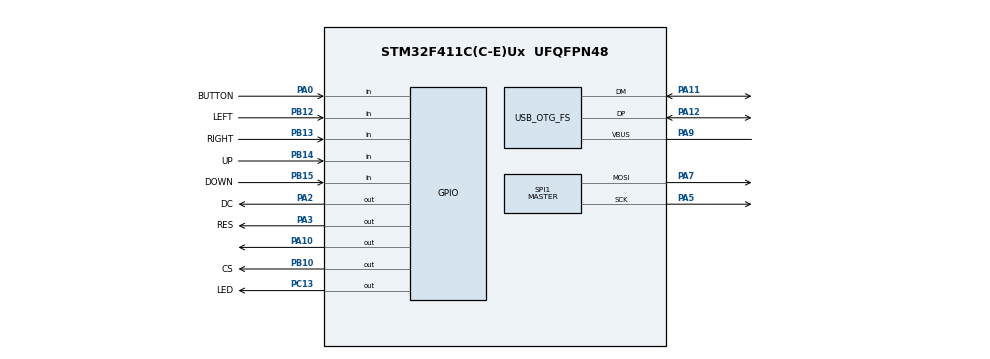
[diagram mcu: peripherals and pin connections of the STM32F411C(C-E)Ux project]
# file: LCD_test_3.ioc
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Dma.Request0=SPI1_TX
Dma.SPI1_TX.0.Direction=DMA_MEMORY_TO_PERIPH
Dma.SPI1_TX.0.FIFOMode=DMA_FIFOMODE_DISABLE
Dma.SPI1_TX.0.Instance=DMA2_Stream3
Dma.SPI1_TX.0.MemDataAlignment=DMA_MDATAALIGN_BYTE
Dma.SPI1_TX.0.MemInc=DMA_MINC_ENABLE
Dma.SPI1_TX.0.Mode=DMA_NORMAL
Dma.SPI1_TX.0.PeriphDataAlignment=DMA_PDATAALIGN_BYTE
Dma.SPI1_TX.0.PeriphInc=DMA_PINC_DISABLE
Dma.SPI1_TX.0.Priority=DMA_PRIORITY_MEDIUM
FATFS._USE_LFN=2
Mcu.Family=STM32F4
Mcu.Name=STM32F411C(C-E)Ux
Mcu.Package=UFQFPN48
NVIC.DMA2_Stream3_IRQn=true\:0\:0\:false\:false\:true\:false\:true\:true
NVIC.OTG_FS_IRQn=true\:0\:0\:false\:false\:true\:false\:true\:true
NVIC.PriorityGroup=NVIC_PRIORITYGROUP_4
NVIC.TIM1_UP_TIM10_IRQn=true\:0\:0\:false\:false\:true\:true\:true\:true
PA0-WKUP.GPIO_Label=BUTTON
PA0-WKUP.GPIO_PuPd=GPIO_PULLUP
PA0-WKUP.Signal=GPIO_Input
PA10.Signal=GPIO_Output
PA11.Mode=Host_Only
PA11.Signal=USB_OTG_FS_DM
PA12.Mode=Host_Only
PA12.Signal=USB_OTG_FS_DP
PA2.GPIO_Label=DC
PA2.GPIO_Speed=GPIO_SPEED_FREQ_VERY_HIGH
PA2.Signal=GPIO_Output
PA3.GPIO_Label=RES
PA3.GPIO_Speed=GPIO_SPEED_FREQ_VERY_HIGH
PA3.Signal=GPIO_Output
PA5.Mode=TX_Only_Simplex_Unidirect_Master
PA5.Signal=SPI1_SCK
PA7.Mode=TX_Only_Simplex_Unidirect_Master
PA7.Signal=SPI1_MOSI
PA9.Mode=Activate_VBUS
PA9.Signal=USB_OTG_FS_VBUS
PB10.GPIO_Label=CS
PB10.GPIO_Speed=GPIO_SPEED_FREQ_VERY_HIGH
PB10.Signal=GPIO_Output
PB12.GPIO_Label=LEFT
PB12.GPIO_PuPd=GPIO_PULLDOWN
PB12.Signal=GPIO_Input
PB13.GPIO_Label=RIGHT
PB13.GPIO_PuPd=GPIO_PULLDOWN
PB13.Signal=GPIO_Input
PB14.GPIO_Label=UP
PB14.GPIO_PuPd=GPIO_PULLDOWN
PB14.Signal=GPIO_Input
PB15.GPIO_Label=DOWN
PB15.GPIO_PuPd=GPIO_PULLDOWN
PB15.Signal=GPIO_Input
PC13-ANTI_TAMP.GPIO_Label=LED
PC13-ANTI_TAMP.Signal=GPIO_Output
PH0\ -\ OSC_IN.Mode=HSE-External-Oscillator
PH0\ -\ OSC_IN.Signal=RCC_OSC_IN
PH1\ -\ OSC_OUT.Mode=HSE-External-Oscillator
PH1\ -\ OSC_OUT.Signal=RCC_OSC_OUT
ProjectManager.HeapSize=0x1000
ProjectManager.StackSize=0x2000
ProjectManager.TargetToolchain=MDK-ARM V5.32
RCC.48MHZClocksFreq_Value=48097826.086956516
RCC.AHBFreq_Value=96195652.17391303
RCC.APB1CLKDivider=RCC_HCLK_DIV2
RCC.APB1Freq_Value=48097826.086956516
RCC.APB1TimFreq_Value=96195652.17391303
RCC.APB2Freq_Value=96195652.17391303
RCC.APB2TimFreq_Value=96195652.17391303
RCC.CortexFreq_Value=96195652.17391303
RCC.HCLKFreq_Value=96195652.17391303
RCC.HSE_VALUE=25000000
RCC.HSI_VALUE=16000000
RCC.LSE_VALUE=32768
RCC.PLLM=23
RCC.PLLN=354
RCC.PLLP=RCC_PLLP_DIV4
RCC.PLLQ=8
RCC.SYSCLKFreq_VALUE=96195652.17391303
RCC.SYSCLKSource=RCC_SYSCLKSOURCE_PLLCLK
RCC.VCOOutputFreq_Value=384782608.6956521
SPI1.CalculateBaudRate=48.097824 MBits/s
SPI1.Direction=SPI_DIRECTION_2LINES
SPI1.Mode=SPI_MODE_MASTER
SPI1.VirtualType=VM_MASTER
TIM1.Period=10000
TIM1.Prescaler=1000
TIM1.TIM_MasterOutputTrigger=TIM_TRGO_UPDATE
USB_HOST.BSP.number=1
USB_HOST.USBH_HandleTypeDef=hUsbHostFS
USB_HOST.VirtualModeFS=Msc
USB_HOST0.BSP.STBoard=false
USB_HOST0.BSP.api=Unknown
USB_HOST0.BSP.instance=PA10
USB_HOST0.BSP.ip=GPIO
USB_HOST0.BSP.mode=Output
USB_HOST0.BSP.name=Drive_VBUS_FS
USB_HOST0.BSP.solution=PA10
USB_OTG_FS.VirtualMode=Host_Only
USB_OTG_FS.phy_itface=HCD_PHY_EMBEDDED
VP_FATFS_VS_USB.Mode=USB
VP_TIM1_VS_ClockSourceINT.Mode=Internal
VP_USB_HOST_VS_USB_HOST_MSC_FS.Mode=MSC_FS
board=custom

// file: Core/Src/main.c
/* USER CODE BEGIN Header */
/**
  ******************************************************************************
  * @file           : main.c
  * @brief          : Main program body
  ******************************************************************************
  * @attention
  *
  * Copyright (c) 2024 STMicroelectronics.
  * All rights reserved.
  *
  * This software is licensed under terms that can be found in the LICENSE file
  * in the root directory of this software component.
  * If no LICENSE file comes with this software, it is provided AS-IS.
  *
  ******************************************************************************
  */
/* USER CODE END Header */
#include "main.h"
#include "fatfs.h"
#include "usb_host.h"

/* USER CODE BEGIN Includes */
//#include "GC9A01.h"
#include "font.h"
#include "File_Handling.h"
/* USER CODE END Includes */

/* USER CODE BEGIN PV */
	extern ApplicationTypeDef Appli_state;
	extern uint8_t shift;
	volatile uint8_t dma_spi_fl1=0;
	uint32_t dma_spi_cnt=1;
	uint8_t current_active_menu_member = 0;
	uint8_t current_page = 1;
	uint8_t amount_of_files = 0;
	uint8_t txt_file_page = 1;
	uint8_t enable_menu_member_animation = 1;
	uint8_t enable_button_handling = 1;
	char buffer[256];
	char path[512] = "/";
	char path_txt[512];
	uint16_t horizontal_offset = 0;
	uint16_t vertical_offset = 0;
	uint16_t interpolation_coef = 1;
	uint16_t screen_buf[240] = {0};
	FATFS fs;
	DIR dr;
	FIL fl;
	FRESULT res;

	struct MenuMember Members[8];

	usb_drive_state USB_Storage_state = disconected;
	usb_drive_state USB_Storage_last_state = disconected;
	Device_mode current_mode = view_file_menu;

/* USER CODE END PV */

void SystemClock_Config(void);
static void MX_GPIO_Init(void);
static void MX_DMA_Init(void);
static void MX_SPI1_Init(void);
static void MX_TIM1_Init(void);
void MX_USB_HOST_Process(void);

/* USER CODE BEGIN PFP */
	void delay_ms(uint32_t ms);
	int generate_random_number(int min, int max);
	void display_test_animation(void);
	void ClearBuffer(char *buffer, size_t length);
	void clear_and_set_root(char *array, size_t size);
	void refresh_BMP_image(void);
/* USER CODE END PFP */

int main(void)
{
  /* USER CODE BEGIN 1 */
	for(int i = AMOUNT_OF_MENU_MEMBERS; i >= 0; i--){
	strcpy(Members[i].text, "File ");
	Members[i].number = i + 1;
	Members[i].state = unactive;
	}
	Members[current_active_menu_member].state = active;
  /* USER CODE END 1 */

  /* MCU Configuration--------------------------------------------------------*/

  /* Reset of all peripherals, Initializes the Flash interface and the Systick. */
  HAL_Init();

  /* USER CODE BEGIN Init */
  LL_APB2_GRP1_EnableClock(LL_APB2_GRP1_PERIPH_SYSCFG);
  LL_APB1_GRP1_EnableClock(LL_APB1_GRP1_PERIPH_PWR);
	NVIC_SetPriorityGrouping(NVIC_PRIORITYGROUP_4);
	NVIC_SetPriority(SysTick_IRQn, NVIC_EncodePriority(NVIC_GetPriorityGrouping(),1, 0));
  /* USER CODE END Init */

  /* Configure the system clock */
  SystemClock_Config();

  /* Initialize all configured peripherals */
  MX_GPIO_Init();
  MX_DMA_Init();
  MX_SPI1_Init();
//  MX_FATFS_Init();
//  MX_USB_HOST_Init();
//  MX_TIM1_Init();
  /* USER CODE BEGIN 2 */
	LL_DMA_DisableStream(DMA2, LL_DMA_STREAM_3);
	LL_DMA_ClearFlag_TC3(DMA2);
  LL_DMA_ClearFlag_TE3(DMA2);
	LL_DMA_EnableIT_TC(DMA2, LL_DMA_STREAM_3);
  LL_DMA_EnableIT_TE(DMA2, LL_DMA_STREAM_3);
	LL_SPI_EnableDMAReq_TX(SPI1);
	LL_SPI_Enable(SPI1);

	GC9A01_Initial();
	GC9A01_ClearScreen(WHITE);
	GC9A01_SetBackColor(BLACK);
	GC9A01_SetFont(&Font16);
	GC9A01_SetTextColor(WHITE);

	MX_USB_HOST_Init();
	MX_FATFS_Init();

	while(Appli_state != APPLICATION_READY){
		MX_USB_HOST_Process();
	}
	Mount_USB();
	uint8_t files = Scan_USB_for_amount_of_files("/");
	Members[7].state = unactive;
	Scan_USB(path, Members,current_page);
	amount_of_files = Scan_USB_for_amount_of_files("/");
	Unmount_USB();

	MX_TIM1_Init();
	LL_TIM_EnableIT_UPDATE(TIM1);
	LL_TIM_EnableCounter(TIM1);
  /* USER CODE END 2 */

  /* Infinite loop */
  /* USER CODE BEGIN WHILE */
  while (1)
  {

		check_for_USB_storage_connection();
		if(enable_button_handling == 1){

			if(LL_GPIO_IsInputPinSet(UP_GPIO_Port,UP_Pin) == 1 && LL_GPIO_IsInputPinSet(DOWN_GPIO_Port,DOWN_Pin) == 1){
				UP_DOWN_button_handrel();
				shift = 0;
			}
			if(LL_GPIO_IsInputPinSet(LEFT_GPIO_Port,LEFT_Pin) == 1 && LL_GPIO_IsInputPinSet(RIGHT_GPIO_Port,RIGHT_Pin) == 1){
				LEFT_RIGHT_button_handrel();
				shift = 0;
			}
			if(LL_GPIO_IsInputPinSet(LEFT_GPIO_Port,LEFT_Pin) == 1){
				LEFT_button_handrel();
			}
			if(LL_GPIO_IsInputPinSet(RIGHT_GPIO_Port,RIGHT_Pin) == 1){
				RIGHT_button_handrel();
			}
			if(LL_GPIO_IsInputPinSet(UP_GPIO_Port,UP_Pin) == 1){
				UP_button_handrel();
				shift = 0;
			}
			if(LL_GPIO_IsInputPinSet(DOWN_GPIO_Port,DOWN_Pin) == 1){
				DOWN_button_handrel();
				shift = 0;
			}
			if(LL_GPIO_IsInputPinSet(BUTTON_GPIO_Port,BUTTON_Pin) == 0){
				BACK_TO_MENU_button_handler();
				shift = 0;
			}
		}

		if(enable_menu_member_animation == 1){
			menu_active_member_running_text_animation \
			(&Members[get_active_menu_member(Members)],get_active_menu_member(Members));
			delay_ms(5);
		}
		//GC9A01_show_picture(tohru1,50,50,140,140,140,140);
		//display_test_animation();
    /* USER CODE END WHILE */
    MX_USB_HOST_Process();

  }
}

void SystemClock_Config(void)
{
  LL_FLASH_SetLatency(LL_FLASH_LATENCY_3);
  while(LL_FLASH_GetLatency()!= LL_FLASH_LATENCY_3)
  {
  }
  LL_PWR_SetRegulVoltageScaling(LL_PWR_REGU_VOLTAGE_SCALE1);
  LL_RCC_HSE_Enable();

   /* Wait till HSE is ready */
  while(LL_RCC_HSE_IsReady() != 1)
  {

  }
  LL_RCC_PLL_ConfigDomain_SYS(LL_RCC_PLLSOURCE_HSE, LL_RCC_PLLM_DIV_23, 354, LL_RCC_PLLP_DIV_4);
  LL_RCC_PLL_ConfigDomain_48M(LL_RCC_PLLSOURCE_HSE, LL_RCC_PLLM_DIV_23, 354, LL_RCC_PLLQ_DIV_8);
  LL_RCC_PLL_Enable();

   /* Wait till PLL is ready */
  while(LL_RCC_PLL_IsReady() != 1)
  {

  }
  LL_RCC_SetAHBPrescaler(LL_RCC_SYSCLK_DIV_1);
  LL_RCC_SetAPB1Prescaler(LL_RCC_APB1_DIV_2);
  LL_RCC_SetAPB2Prescaler(LL_RCC_APB2_DIV_1);
  LL_RCC_SetSysClkSource(LL_RCC_SYS_CLKSOURCE_PLL);

   /* Wait till System clock is ready */
  while(LL_RCC_GetSysClkSource() != LL_RCC_SYS_CLKSOURCE_STATUS_PLL)
  {

  }
  LL_SetSystemCoreClock(96195652);

   /* Update the time base */
  if (HAL_InitTick (TICK_INT_PRIORITY) != HAL_OK)
  {
    Error_Handler();
  }
  LL_RCC_SetTIMPrescaler(LL_RCC_TIM_PRESCALER_TWICE);
}

static void MX_SPI1_Init(void)
{

  LL_SPI_InitTypeDef SPI_InitStruct = {0};

  LL_GPIO_InitTypeDef GPIO_InitStruct = {0};

  /* Peripheral clock enable */
  LL_APB2_GRP1_EnableClock(LL_APB2_GRP1_PERIPH_SPI1);

  LL_AHB1_GRP1_EnableClock(LL_AHB1_GRP1_PERIPH_GPIOA);
  /**SPI1 GPIO Configuration
  PA5   ------> SPI1_SCK
  PA7   ------> SPI1_MOSI
  */
  GPIO_InitStruct.Pin = LL_GPIO_PIN_5|LL_GPIO_PIN_7;
  GPIO_InitStruct.Mode = LL_GPIO_MODE_ALTERNATE;
  GPIO_InitStruct.Speed = LL_GPIO_SPEED_FREQ_VERY_HIGH;
  GPIO_InitStruct.OutputType = LL_GPIO_OUTPUT_PUSHPULL;
  GPIO_InitStruct.Pull = LL_GPIO_PULL_NO;
  GPIO_InitStruct.Alternate = LL_GPIO_AF_5;
  LL_GPIO_Init(GPIOA, &GPIO_InitStruct);

  /* SPI1 DMA Init */

  /* SPI1_TX Init */
  LL_DMA_SetChannelSelection(DMA2, LL_DMA_STREAM_3, LL_DMA_CHANNEL_3);

  LL_DMA_SetDataTransferDirection(DMA2, LL_DMA_STREAM_3, LL_DMA_DIRECTION_MEMORY_TO_PERIPH);

  LL_DMA_SetStreamPriorityLevel(DMA2, LL_DMA_STREAM_3, LL_DMA_PRIORITY_MEDIUM);

  LL_DMA_SetMode(DMA2, LL_DMA_STREAM_3, LL_DMA_MODE_NORMAL);

  LL_DMA_SetPeriphIncMode(DMA2, LL_DMA_STREAM_3, LL_DMA_PERIPH_NOINCREMENT);

  LL_DMA_SetMemoryIncMode(DMA2, LL_DMA_STREAM_3, LL_DMA_MEMORY_INCREMENT);

  LL_DMA_SetPeriphSize(DMA2, LL_DMA_STREAM_3, LL_DMA_PDATAALIGN_BYTE);

  LL_DMA_SetMemorySize(DMA2, LL_DMA_STREAM_3, LL_DMA_MDATAALIGN_BYTE);

  LL_DMA_DisableFifoMode(DMA2, LL_DMA_STREAM_3);

  /* SPI1 parameter configuration*/
  SPI_InitStruct.TransferDirection = LL_SPI_FULL_DUPLEX;
  SPI_InitStruct.Mode = LL_SPI_MODE_MASTER;
  SPI_InitStruct.DataWidth = LL_SPI_DATAWIDTH_8BIT;
  SPI_InitStruct.ClockPolarity = LL_SPI_POLARITY_LOW;
  SPI_InitStruct.ClockPhase = LL_SPI_PHASE_1EDGE;
  SPI_InitStruct.NSS = LL_SPI_NSS_SOFT;
  SPI_InitStruct.BaudRate = LL_SPI_BAUDRATEPRESCALER_DIV2;
  SPI_InitStruct.BitOrder = LL_SPI_MSB_FIRST;
  SPI_InitStruct.CRCCalculation = LL_SPI_CRCCALCULATION_DISABLE;
  SPI_InitStruct.CRCPoly = 10;
  LL_SPI_Init(SPI1, &SPI_InitStruct);
  LL_SPI_SetStandard(SPI1, LL_SPI_PROTOCOL_MOTOROLA);

}

static void MX_TIM1_Init(void)
{

  LL_TIM_InitTypeDef TIM_InitStruct = {0};

  /* Peripheral clock enable */
  LL_APB2_GRP1_EnableClock(LL_APB2_GRP1_PERIPH_TIM1);

  /* TIM1 interrupt Init */
  NVIC_SetPriority(TIM1_UP_TIM10_IRQn, NVIC_EncodePriority(NVIC_GetPriorityGrouping(),0, 0));
  NVIC_EnableIRQ(TIM1_UP_TIM10_IRQn);

  TIM_InitStruct.Prescaler = 1000;
  TIM_InitStruct.CounterMode = LL_TIM_COUNTERMODE_UP;
  TIM_InitStruct.Autoreload = 10000;
  TIM_InitStruct.ClockDivision = LL_TIM_CLOCKDIVISION_DIV1;
  TIM_InitStruct.RepetitionCounter = 0;
  LL_TIM_Init(TIM1, &TIM_InitStruct);
  LL_TIM_DisableARRPreload(TIM1);
  LL_TIM_SetClockSource(TIM1, LL_TIM_CLOCKSOURCE_INTERNAL);
  LL_TIM_SetTriggerOutput(TIM1, LL_TIM_TRGO_UPDATE);
  LL_TIM_DisableMasterSlaveMode(TIM1);

}

static void MX_DMA_Init(void)
{

  /* Init with LL driver */
  /* DMA controller clock enable */
  LL_AHB1_GRP1_EnableClock(LL_AHB1_GRP1_PERIPH_DMA2);

  /* DMA interrupt init */
  /* DMA2_Stream3_IRQn interrupt configuration */
  NVIC_SetPriority(DMA2_Stream3_IRQn, NVIC_EncodePriority(NVIC_GetPriorityGrouping(),0, 0));
  NVIC_EnableIRQ(DMA2_Stream3_IRQn);

}

static void MX_GPIO_Init(void)
{
  LL_GPIO_InitTypeDef GPIO_InitStruct = {0};

  /* GPIO Ports Clock Enable */
  LL_AHB1_GRP1_EnableClock(LL_AHB1_GRP1_PERIPH_GPIOC);
  LL_AHB1_GRP1_EnableClock(LL_AHB1_GRP1_PERIPH_GPIOH);
  LL_AHB1_GRP1_EnableClock(LL_AHB1_GRP1_PERIPH_GPIOA);
  LL_AHB1_GRP1_EnableClock(LL_AHB1_GRP1_PERIPH_GPIOB);

  /**/
  LL_GPIO_ResetOutputPin(LED_GPIO_Port, LED_Pin);

  /**/
  LL_GPIO_ResetOutputPin(GPIOA, DC_Pin|RES_Pin|LL_GPIO_PIN_10);

  /**/
  LL_GPIO_ResetOutputPin(CS_GPIO_Port, CS_Pin);

  /**/
  GPIO_InitStruct.Pin = LED_Pin;
  GPIO_InitStruct.Mode = LL_GPIO_MODE_OUTPUT;
  GPIO_InitStruct.Speed = LL_GPIO_SPEED_FREQ_LOW;
  GPIO_InitStruct.OutputType = LL_GPIO_OUTPUT_PUSHPULL;
  GPIO_InitStruct.Pull = LL_GPIO_PULL_NO;
  LL_GPIO_Init(LED_GPIO_Port, &GPIO_InitStruct);

  /**/
  GPIO_InitStruct.Pin = BUTTON_Pin;
  GPIO_InitStruct.Mode = LL_GPIO_MODE_INPUT;
  GPIO_InitStruct.Pull = LL_GPIO_PULL_UP;
  LL_GPIO_Init(BUTTON_GPIO_Port, &GPIO_InitStruct);

  /**/
  GPIO_InitStruct.Pin = DC_Pin|RES_Pin;
  GPIO_InitStruct.Mode = LL_GPIO_MODE_OUTPUT;
  GPIO_InitStruct.Speed = LL_GPIO_SPEED_FREQ_VERY_HIGH;
  GPIO_InitStruct.OutputType = LL_GPIO_OUTPUT_PUSHPULL;
  GPIO_InitStruct.Pull = LL_GPIO_PULL_NO;
  LL_GPIO_Init(GPIOA, &GPIO_InitStruct);

  /**/
  GPIO_InitStruct.Pin = CS_Pin;
  GPIO_InitStruct.Mode = LL_GPIO_MODE_OUTPUT;
  GPIO_InitStruct.Speed = LL_GPIO_SPEED_FREQ_VERY_HIGH;
  GPIO_InitStruct.OutputType = LL_GPIO_OUTPUT_PUSHPULL;
  GPIO_InitStruct.Pull = LL_GPIO_PULL_NO;
  LL_GPIO_Init(CS_GPIO_Port, &GPIO_InitStruct);

  /**/
  GPIO_InitStruct.Pin = LEFT_Pin|RIGHT_Pin|UP_Pin|DOWN_Pin;
  GPIO_InitStruct.Mode = LL_GPIO_MODE_INPUT;
  GPIO_InitStruct.Pull = LL_GPIO_PULL_DOWN;
  LL_GPIO_Init(GPIOB, &GPIO_InitStruct);

  /**/
  GPIO_InitStruct.Pin = LL_GPIO_PIN_10;
  GPIO_InitStruct.Mode = LL_GPIO_MODE_OUTPUT;
  GPIO_InitStruct.Speed = LL_GPIO_SPEED_FREQ_LOW;
  GPIO_InitStruct.OutputType = LL_GPIO_OUTPUT_PUSHPULL;
  GPIO_InitStruct.Pull = LL_GPIO_PULL_NO;
  LL_GPIO_Init(GPIOA, &GPIO_InitStruct);

}

/* USER CODE BEGIN 4 */
void delay_ms(uint32_t ms) {
    uint32_t delay_cycles = ms * 100000;
    while (delay_cycles--) {
        __asm__("nop");
    }
}

void ClearBuffer(char *buffer, size_t length) {
    if (buffer != NULL) {
        memset(buffer, 0, length);
    }
}

int generate_random_number(int min, int max) {
    return min + rand() % (max - min + 1);
}

void clear_and_set_root(char *array, size_t size) {
    memset(array, 0, size);
    if (size > 1) {
        array[0] = '/';
        array[1] = '\0';
    }
}

void refresh_BMP_image(void){

	uint8_t active_member = get_active_menu_member(Members);
	if(chek_menu_member_for_the_file_type(Members[active_member],"bmp") == 1){
		enable_menu_member_animation = 0;
		snprintf(path_txt, sizeof(path_txt), "%.*s/%s", (int)(strlen(path)), path, Members[active_member].text);
		current_mode = view_image;
		GC9A01_ClearScreen(WHITE);
		Mount_USB();
		Read_File_and_print_BMP(path_txt,&horizontal_offset,&vertical_offset,interpolation_coef );
		Unmount_USB();

	}
}

void display_test_animation(void){
		for(uint8_t i=0;i<10;i++)
    {
      GC9A01_DrawCircle(generate_random_number(10, 120),\
			generate_random_number(10, 120), generate_random_number(10, 70),\
			generate_random_number(0, 0xFFFF));
      delay_ms(20);
      GC9A01_DrawCircle(generate_random_number(10, 120),\
			generate_random_number(120, 210), generate_random_number(10, 70),\
			generate_random_number(0, 0xFFFF));
			delay_ms(20);
			GC9A01_DrawCircle(generate_random_number(120, 210),\
			generate_random_number(10, 120), generate_random_number(10, 70),\
			generate_random_number(0, 0xFFFF));
      delay_ms(20);
      GC9A01_DrawCircle(generate_random_number(120, 210),\
			generate_random_number(120, 210), generate_random_number(10, 70),\
			generate_random_number(0, 0xFFFF));
      delay_ms(20);
    }
		delay_ms(200);
		GC9A01_ClearScreen(WHITE);
		GC9A01_show_picture(tohru1,50,50,140,140,140,140);
		delay_ms(500);
		GC9A01_ClearScreen(WHITE);
		for(uint8_t i=0;i<10;i++)
    {
      GC9A01_draw_line(generate_random_number(0, 0xFFFF),\
			generate_random_number(10, 120), generate_random_number(10, 120),\
			generate_random_number(10, 210),generate_random_number(10, 210));
      delay_ms(20);
      GC9A01_draw_line(generate_random_number(0, 0xFFFF),\
			generate_random_number(10, 120), generate_random_number(120, 210),\
			generate_random_number(10, 210),generate_random_number(10, 210));
      delay_ms(20);
			GC9A01_draw_line(generate_random_number(0, 0xFFFF),\
			generate_random_number(120, 210), generate_random_number(10, 210),\
			generate_random_number(10, 210),generate_random_number(10, 210));
      delay_ms(20);
      GC9A01_draw_line(generate_random_number(0, 0xFFFF),\
			generate_random_number(120, 210), generate_random_number(10, 200),\
			generate_random_number(10, 210),generate_random_number(10, 210));
      delay_ms(20);
    }
		delay_ms(500);
		GC9A01_ClearScreen(WHITE);
		for(uint8_t i=0;i<10;i++)
    {
      GC9A01_DrawRect(generate_random_number(0, 0xFFFF),\
			generate_random_number(10, 120), generate_random_number(10, 120),\
			generate_random_number(10, 120),generate_random_number(10, 120));
      delay_ms(20);
      GC9A01_DrawRect(generate_random_number(0, 0xFFFF),\
			generate_random_number(10, 120), generate_random_number(120, 210),\
			generate_random_number(10, 120),generate_random_number(120, 210));
      delay_ms(20);
			GC9A01_DrawRect(generate_random_number(0, 0xFFFF),\
			generate_random_number(120, 210), generate_random_number(10, 210),\
			generate_random_number(120, 210),generate_random_number(10, 210));
      delay_ms(20);
      GC9A01_DrawRect(generate_random_number(0, 0xFFFF),\
			generate_random_number(120, 210), generate_random_number(10, 200),\
			generate_random_number(120, 210),generate_random_number(10, 210));
      delay_ms(20);
    }
		delay_ms(500);
		GC9A01_ClearScreen(WHITE);
		GC9A01_SetBackColor(BLACK);
		GC9A01_SetFont(&Font24);
		GC9A01_SetTextColor(WHITE);
		GC9A01_String(60,110,"Hello");
		GC9A01_Rainbow_String(60,130,"WORLD");
		delay_ms(500);
		GC9A01_ClearScreen(WHITE);
}

void UP_DOWN_button_handrel(){
	HAL_GPIO_TogglePin(LED_GPIO_Port,LED_Pin);
	switch(current_mode){
		case view_file_menu:

		break;
		case view_txt:

		break;
		case view_image:
			if(interpolation_coef <= MAX_INTERPOLATION_COEF){
				interpolation_coef ++;
				refresh_BMP_image();
			}
		break;
		case error:
			BACK_TO_MENU_button_handler();
		break;
	}
}

void LEFT_RIGHT_button_handrel(){
	HAL_GPIO_TogglePin(LED_GPIO_Port,LED_Pin);
	switch(current_mode){
		case view_file_menu:

		break;
		case view_txt:

		break;
		case view_image:
			if(interpolation_coef > 1){
				interpolation_coef --;
				refresh_BMP_image();
			}
		break;
		case error:
			BACK_TO_MENU_button_handler();
		break;
	}
}

void LEFT_button_handrel(){
	HAL_GPIO_TogglePin(LED_GPIO_Port,LED_Pin);
	switch(current_mode){
		case view_file_menu:
			view_menu_LEFT_button_handler();
		break;
		case view_txt:
			view_txt_LEFT_button_handler();
		break;
		case view_image:
			view_image_LEFT_button_handler();
		break;
		case error:
			BACK_TO_MENU_button_handler();
		break;
	}
}

void RIGHT_button_handrel(){
	HAL_GPIO_TogglePin(LED_GPIO_Port,LED_Pin);
	switch(current_mode){
		case view_file_menu:
			view_menu_RIGHT_button_handler();
		break;
		case view_txt:
			view_txt_RIGHT_button_handler();
		break;
		case view_image:
			view_image_RIGHT_button_handler();
		break;
		case error:
			BACK_TO_MENU_button_handler();
		break;
	}
}

void UP_button_handrel(){
	HAL_GPIO_TogglePin(LED_GPIO_Port,LED_Pin);
	switch(current_mode){
		case view_file_menu:
			view_menu_UP_button_handler();
		break;
		case view_txt:
			view_txt_UP_button_handler();
		break;
		case view_image:
			view_image_UP_button_handler();
		break;
		case error:
			BACK_TO_MENU_button_handler();
		break;
	}
}

void DOWN_button_handrel(){
	HAL_GPIO_TogglePin(LED_GPIO_Port,LED_Pin);
	switch(current_mode){
		case view_file_menu:
			view_menu_DOWN_button_handler();
		break;
		case view_txt:
			view_txt_DOWN_button_handler();
		break;
		case view_image:
			view_image_DOWN_button_handler();
		break;
		case error:
			BACK_TO_MENU_button_handler();
		break;
	}
}

void BACK_TO_MENU_button_handler(){
	current_mode = view_file_menu;
	GC9A01_ClearScreen(WHITE);
	enable_menu_member_animation = 1;
	vertical_offset = 0;
	horizontal_offset = 0;
	interpolation_coef = 1;
	shift = 0;
	ShowMenu(Members, current_page);
}

void view_menu_DOWN_button_handler(){
	if(USB_Storage_state == connected){
		enable_menu_member_animation = 1;
		if(current_active_menu_member<AMOUNT_OF_MENU_MEMBERS - 1){
			current_active_menu_member++;
			if(current_active_menu_member !=0){
				Members[current_active_menu_member-1].state = unactive;
				refresh_menu_member(Members[current_active_menu_member-1],current_active_menu_member-1);
			}
			Members[current_active_menu_member].state = active;
			refresh_menu_member(Members[current_active_menu_member],current_active_menu_member);
		}else{
			if(amount_of_files>=((current_page)*AMOUNT_OF_MENU_MEMBERS)){
				current_active_menu_member = 0;
				Members[current_active_menu_member].state = active;
				Members[AMOUNT_OF_MENU_MEMBERS - 1].state = unactive;
				current_page ++;
				Mount_USB();
				Scan_USB(path, Members,current_page);
				GC9A01_ClearScreen(WHITE);
				ShowMenu(Members,current_page);
				Unmount_USB();
			}
		}
	}
}

void view_menu_UP_button_handler(){
	if(USB_Storage_state == connected){
		enable_menu_member_animation = 1;
		if (current_active_menu_member > 0) {
			current_active_menu_member--;
			Members[current_active_menu_member + 1].state = unactive;
			refresh_menu_member(Members[current_active_menu_member + 1], current_active_menu_member + 1);

			Members[current_active_menu_member].state = active;
			refresh_menu_member(Members[current_active_menu_member], current_active_menu_member);
		} else {
			if (current_page > 1) {
        current_page--;
				current_active_menu_member = AMOUNT_OF_MENU_MEMBERS - 1;
        Members[current_active_menu_member].state = active;
				Members[0].state = unactive;
			  Mount_USB();
        Scan_USB(path, Members, current_page);
        Unmount_USB();
				GC9A01_ClearScreen(WHITE);
        ShowMenu(Members, current_page);
			}
    }
	}
}

void view_menu_LEFT_button_handler() {
      if (strcmp("/", path) != 0) {
        uint16_t len = strlen(path);

        if (path[len - 1] == '/') {
            path[len - 1] = '\0';
            len--;
        }

        for (uint16_t i = len - 1; i >= 0; i--) {
            if (path[i] == '/') {
                path[i] = '\0';
                break;
            }
        }
        if (strlen(path) == 0) {
            strcpy(path, "/");
        }
		Members[current_active_menu_member].state = unactive;
		current_active_menu_member = 0;
		Members[current_active_menu_member].state = active;
		current_page = 1;
		Mount_USB();
    Scan_USB(path, Members, current_page);
		amount_of_files = Scan_USB_for_amount_of_files(path);
    Unmount_USB();
		GC9A01_ClearScreen(WHITE);
    ShowMenu(Members, current_page);
    }
}

void view_menu_RIGHT_button_handler(){
	uint8_t active_member = get_active_menu_member(Members);

	//case .txt file
	if(chek_menu_member_for_the_file_type(Members[active_member],"txt") == 1){
		enable_menu_member_animation = 0;
		GC9A01_SetFont(default_font);
		GC9A01_SetFont(&Font16);
		extern GC9A01_DrawPropTypeDef lcdprop;
		char buffer[lcdprop.pFont->Width * lcdprop.pFont->Height];

		snprintf(path_txt, sizeof(path_txt), "%.*s/%s", (int)(strlen(path)), path, Members[active_member].text);

		Mount_USB();
		Read_File(path_txt,txt_file_page,buffer, (lcdprop.pFont->Width * lcdprop.pFont->Height)-11 );
		Unmount_USB();
		GC9A01_Text(buffer,1);
		current_mode = view_txt;

	//directory case
	}else if(chek_menu_member_for_the_file_type(Members[active_member],"DIR") == 1){
		current_page = 1;
		Members[current_active_menu_member].state = unactive;
		current_active_menu_member = 0;
		Members[current_active_menu_member].state = active;

		uint8_t lenght_of_current_path = strlen(path);
		uint8_t len = strlen(Members[active_member].text);
		char temp[len - 3];
		strncpy(temp, Members[active_member].text, len - 4);
		temp[len - 3] = '\0';
		sprintf(path+lenght_of_current_path, "/%.*s",(int)(strlen(Members[active_member].text) - 4),	Members[active_member].text);

		Mount_USB();
		Scan_USB(path, Members,current_page);
		amount_of_files = Scan_USB_for_amount_of_files(path);
		Unmount_USB();
		GC9A01_ClearScreen(WHITE);
		ShowMenu(Members,current_page);

	}else if(chek_menu_member_for_the_file_type(Members[active_member],"bmp") == 1){
		enable_menu_member_animation = 0;
		snprintf(path_txt, sizeof(path_txt), "%.*s/%s", (int)(strlen(path)), path, Members[active_member].text);
		current_mode = view_image;
		GC9A01_ClearScreen(WHITE);
		Mount_USB();
		Read_File_and_print_BMP(path_txt,&horizontal_offset,&vertical_offset,interpolation_coef );
		Unmount_USB();

	}
	/*
		other cases
	*/
}

void view_txt_DOWN_button_handler(){
	txt_file_page ++;
	view_menu_RIGHT_button_handler();
}

void view_txt_UP_button_handler(){
	txt_file_page --;
	view_menu_RIGHT_button_handler();
}

void view_txt_LEFT_button_handler(){
	GC9A01_ClearScreen(WHITE);
	current_mode = view_file_menu;
	txt_file_page = 1;
	enable_menu_member_animation = 1;
	shift = 0;
	ShowMenu(Members, current_page);
}

void view_txt_RIGHT_button_handler(){
	//nothing
}

void view_image_DOWN_button_handler(){
	if(vertical_offset >= 64){
		vertical_offset  = vertical_offset - 64;
	} else {
		vertical_offset = 0;
	}
	refresh_BMP_image();

	}

void view_image_UP_button_handler(){
	vertical_offset  = vertical_offset + 64;
	refresh_BMP_image();

}

void view_image_LEFT_button_handler(){
	if(horizontal_offset >= 64){
		horizontal_offset  = horizontal_offset - 64;
	} else {
		horizontal_offset = 0;
	}
	refresh_BMP_image();
}

void view_image_RIGHT_button_handler(){
	horizontal_offset = horizontal_offset + 64;
	refresh_BMP_image();

}

void check_for_USB_storage_connection(){
	MX_USB_HOST_Process();
	if(Appli_state == APPLICATION_READY){
		USB_Storage_state = connected;
		if(	USB_Storage_last_state == disconected){
			enable_menu_member_animation = 1;
			enable_button_handling = 1;
			current_mode = view_file_menu;
			GC9A01_ClearScreen(WHITE);
			current_page = 1;
			Members[current_active_menu_member].state = unactive;
			current_active_menu_member = 0;
			Members[current_active_menu_member].state = active;
			Mount_USB();
			clear_and_set_root(path, 512);
			Scan_USB(path, Members,current_page);
			Unmount_USB();
			ShowMenu(Members,current_page);
		}
		USB_Storage_last_state = connected;
	} else {
		USB_Storage_state = disconected;
		if(	USB_Storage_last_state == connected){
			enable_menu_member_animation = 0;
			enable_button_handling = 0;
			GC9A01_ClearScreen(WHITE);
			GC9A01_SetTextColor(default_text_color);
			GC9A01_SetBackColor(default_background_color);
			GC9A01_SetFont(default_font);
			GC9A01_Rainbow_String(40,100, "Storage");
			GC9A01_Rainbow_String(40,120, "Disconected");
		}
		USB_Storage_last_state = disconected;
	}
}

/* USER CODE END 4 */

void Error_Handler(void)
{
  /* USER CODE BEGIN Error_Handler_Debug */
  /* User can add his own implementation to report the HAL error return state */
  __disable_irq();
  while (1)
  {
		LL_GPIO_SetOutputPin	(	LED_GPIO_Port,LED_Pin	);
		GC9A01_ClearScreen(GREEN);
		LL_GPIO_ResetOutputPin	(	LED_GPIO_Port,LED_Pin	);
		GC9A01_ClearScreen(BLUE);
  }
  /* USER CODE END Error_Handler_Debug */
}
